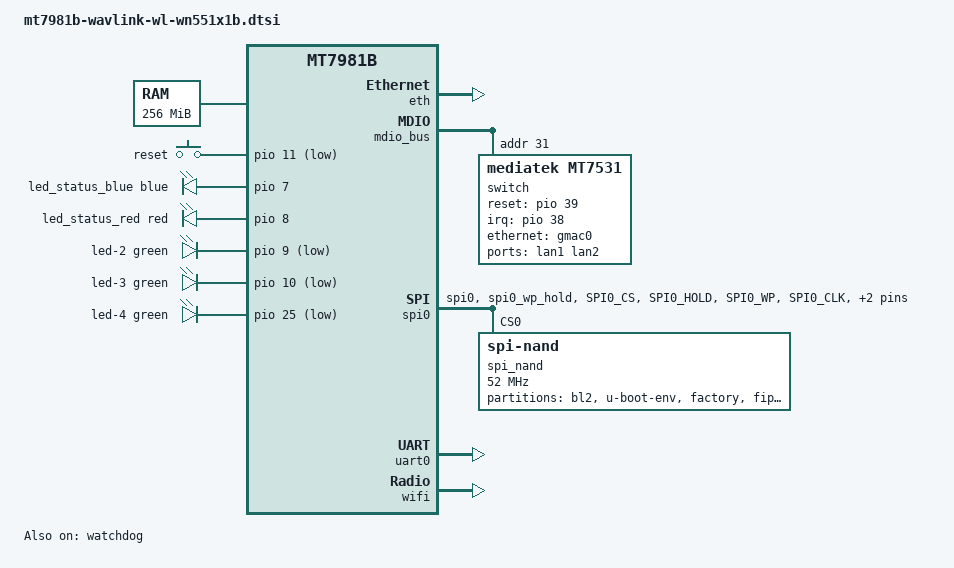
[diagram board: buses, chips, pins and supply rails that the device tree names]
// SPDX-License-Identifier: GPL-2.0-only OR MIT

/dts-v1/;

#include <dt-bindings/pinctrl/mt65xx.h>

#include "mt7981b.dtsi"

/ {
	aliases {
		label-mac-device = &wifi;
		led-boot = &led_status_blue;
		led-failsafe = &led_status_red;
		led-running = &led_status_blue;
		led-upgrade = &led_status_red;
		serial0 = &uart0;
	};

	chosen: chosen {
		stdout-path = "serial0:115200n8";
	};

    memory {
		reg = <0 0x40000000 0 0x10000000>; // 256mb
	};

	gpio-keys {
		compatible = "gpio-keys";

		button-0 {
			label = "reset";
			linux,code = <KEY_RESTART>;
			gpios = <&pio 11 GPIO_ACTIVE_LOW>;
		};
    };

    leds {
		compatible = "gpio-leds";

		led_status_blue: led-0 {
			color = <LED_COLOR_ID_BLUE>;
			function = LED_FUNCTION_STATUS;
			gpios = <&pio 7 GPIO_ACTIVE_HIGH>;
		};

		led_status_red: led-1 {
			color = <LED_COLOR_ID_RED>;
            function = LED_FUNCTION_STATUS;
			gpios = <&pio 8 GPIO_ACTIVE_HIGH>;
		};

		led-2 {
			color = <LED_COLOR_ID_GREEN>;
			function = LED_FUNCTION_LAN;
			function-enumerator = <1>;
			gpios = <&pio 9 GPIO_ACTIVE_LOW>;
		};

		led-3 {
			color = <LED_COLOR_ID_GREEN>;
			function = LED_FUNCTION_LAN;
			function-enumerator = <2>;
			gpios = <&pio 10 GPIO_ACTIVE_LOW>;
		};

		led-4 {
			color = <LED_COLOR_ID_GREEN>;
			function = LED_FUNCTION_WAN;
			gpios = <&pio 25 GPIO_ACTIVE_LOW>;
		};
    };
		
};

&eth {
	pinctrl-names = "default";
	pinctrl-0 = <&mdio_pins>;

    status = "okay";

	gmac0: mac@0 {
		compatible = "mediatek,eth-mac";
		reg = <0>;
		phy-mode = "2500base-x";
		nvmem-cell-names = "mac-address";
		nvmem-cells = <&macaddr_factory_3fff4>;

		fixed-link {
			speed = <2500>;
			full-duplex;
			pause;
		};
	};

	gmac1: mac@1 {
		compatible = "mediatek,eth-mac";
		reg = <1>;
		phy-mode = "gmii";
		phy-handle = <&int_gbe_phy>;
		nvmem-cell-names = "mac-address";
		nvmem-cells = <&macaddr_factory_3fffa>;
	};
};

&mdio_bus {
	switch: switch@1f {
		compatible = "mediatek,mt7531";
		reg = <31>;
		reset-gpios = <&pio 39 GPIO_ACTIVE_HIGH>;
        interrupt-controller;
		#interrupt-cells = <1>;
		interrupt-parent = <&pio>;
		interrupts = <38 IRQ_TYPE_LEVEL_HIGH>;
	};
};

&spi0 {
	pinctrl-names = "default";
	pinctrl-0 = <&spi0_flash_pins>;
	status = "okay";

	spi_nand: flash@0 {
		compatible = "spi-nand";
		reg = <0>;

		spi-max-frequency = <52000000>;
		spi-tx-bus-width = <4>;
		spi-rx-bus-width = <4>;

    partitions {
			compatible = "fixed-partitions";
			#address-cells = <1>;
			#size-cells = <1>;

			partition@0 {
				label = "bl2";
				reg = <0x0 0x100000>;
				read-only;
			};

			partition@100000 {
				label = "u-boot-env";
				reg = <0x100000 0x80000>;
				read-only;
			};

			partition@180000 {
				label = "factory";
				reg = <0x180000 0x200000>;
				read-only;

				nvmem-layout {
					compatible = "fixed-layout";
					#address-cells = <1>;
					#size-cells = <1>;

					eeprom_factory: eeprom@0 {
						reg = <0x0 0x1000>;
					};

					macaddr_factory_3fff4: macaddr@3fff4 {
                        reg = <0x3fff4 0x6>;
                    };

                    macaddr_factory_3fffa: macaddr@3fffa {
                        reg = <0x3fffa 0x6>;
                    };
				};
			};

			partition@380000 {
				label = "fip";
				reg = <0x380000 0x200000>;
				read-only;
			};

			ubi: partition@580000 {
				label = "ubi";
                compatible = "linux,ubi";
				reg = <0x580000 0x4000000>;
			};

			partition@4580000 {
				label = "hw";
				reg = <0x4580000 0x80000>;

			};
		};
	};
};

&pio {
	spi0_flash_pins: spi0-pins {
		mux {
			function = "spi";
			groups = "spi0", "spi0_wp_hold";
		};

		conf-pu {
			pins = "SPI0_CS", "SPI0_HOLD", "SPI0_WP";
			drive-strength = <MTK_DRIVE_8mA>;
			bias-pull-up = <MTK_PUPD_SET_R1R0_11>;
		};

		conf-pd {
			pins = "SPI0_CLK", "SPI0_MOSI", "SPI0_MISO";
			drive-strength = <MTK_DRIVE_8mA>;
			bias-pull-down = <MTK_PUPD_SET_R1R0_11>;
		};
	};
};

&switch {
	ports {
		#address-cells = <1>;
		#size-cells = <0>;

        port@1 {
			reg = <1>;
			label = "lan1";
		};

		port@2 {
			reg = <2>;
			label = "lan2";
		};

		port@6 {
			reg = <6>;
			ethernet = <&gmac0>;
			phy-mode = "2500base-x";

			fixed-link {
				speed = <2500>;
				full-duplex;
				pause;
			};
		};
	};
};

&uart0 {
	status = "okay";
};

&watchdog {
	status = "okay";
};

&wifi {
	status = "okay";
	nvmem-cells = <&eeprom_factory 0>;
	nvmem-cell-names = "eeprom";
};
